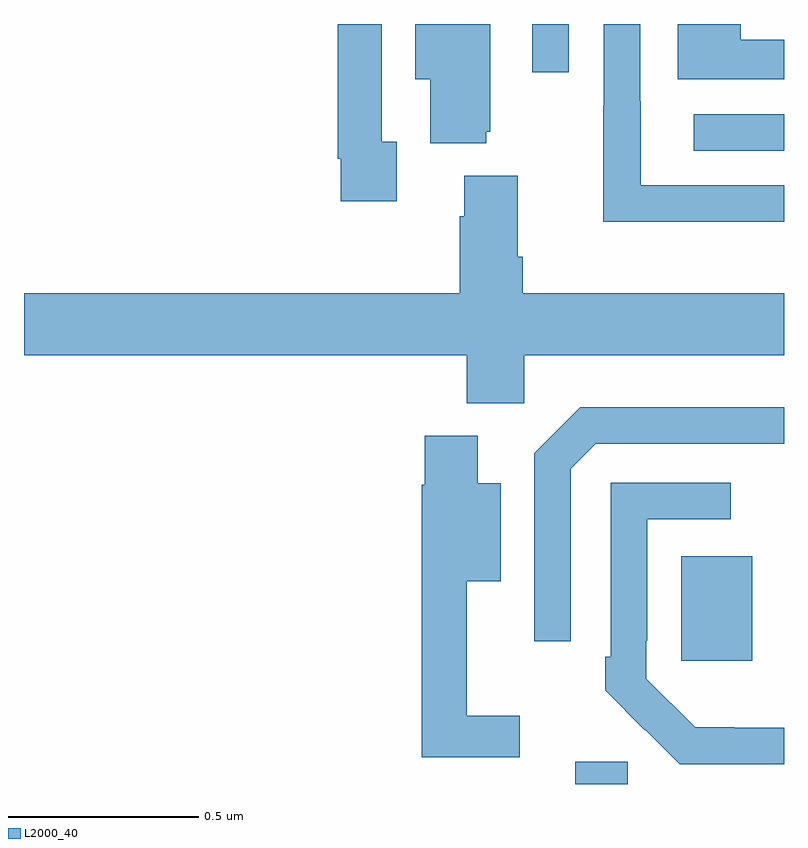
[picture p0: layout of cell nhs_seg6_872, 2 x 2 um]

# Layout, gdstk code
import gdstk
lib = gdstk.Library(unit=1e-6, precision=1e-09)
def R(c, l, rs):  # rectangles x0, y0, x1, y1
    for r in rs: c.add(gdstk.rectangle(r[:2], r[2:], *l))
def P(c, l, *ps):  # polygons
    for p in ps: c.add(gdstk.Polygon(p, *l))
L2000_40 = (2000, 40)

nhs_seg6_872 = lib.new_cell('nhs_seg6_872')
R(nhs_seg6_872, L2000_40, [(122.45,987.5,122.589,987.558), (122.729,987.825,122.917,988.099), (122.763,989.166,123,989.262), (122.337,989.373,122.433,989.5)])
P(nhs_seg6_872, L2000_40, [(123,989.458),(122.886,989.458),(122.886,989.5),(122.72,989.5),(122.72,989.354),(123,989.354)],
  [(121.981,989.19),(121.941,989.19),(121.941,989.5),(121.825,989.5),(121.825,989.146),(121.833,989.146),(121.833,989.034),(121.981,989.034)],
  [(122.987,988.98),(123,988.98),(123,989.076),(122.623,989.076),(122.623,989.297),(122.622,989.297),(122.622,989.5),(122.526,989.5),(122.526,989.285),(122.524,989.285),(122.524,988.979),(122.987,988.979)],
  [(122.216,989.217),(122.227,989.217),(122.227,989.5),(122.03,989.5),(122.03,989.354),(122.069,989.354),(122.069,989.186),(122.216,989.186)],
  [(122.316,988.628),(123,988.628),(123,988.792),(122.312,988.792),(122.312,988.888),(122.299,988.888),(122.299,989.101),(122.159,989.101),(122.159,988.994),(122.147,988.994),(122.147,988.792),(121,988.792),(121,988.628),(122.165,988.628),(122.165,988.502),(122.316,988.502)],
  [(122.439,988.329),(122.505,988.395),(123,988.395),(123,988.492),(122.464,988.492),(122.343,988.371),(122.343,987.876),(122.439,987.876)],
  [(122.305,987.679),(122.165,987.679),(122.165,988.034),(122.254,988.034),(122.254,988.291),(122.194,988.291),(122.194,988.417),(122.054,988.417),(122.054,988.287),(122.047,988.287),(122.047,987.57),(122.305,987.57)],
  [(123,987.648),(122.869,987.648),(122.869,987.649),(122.766,987.649),(122.637,987.777),(122.637,987.877),(122.64,987.877),(122.64,988.197),(122.86,988.197),(122.86,988.293),(122.544,988.293),(122.544,987.835),(122.529,987.835),(122.529,987.747),(122.634,987.642),(122.635,987.643),(122.726,987.552),(123,987.552)])

lib.write_gds('nhs_seg6_872.gds')
